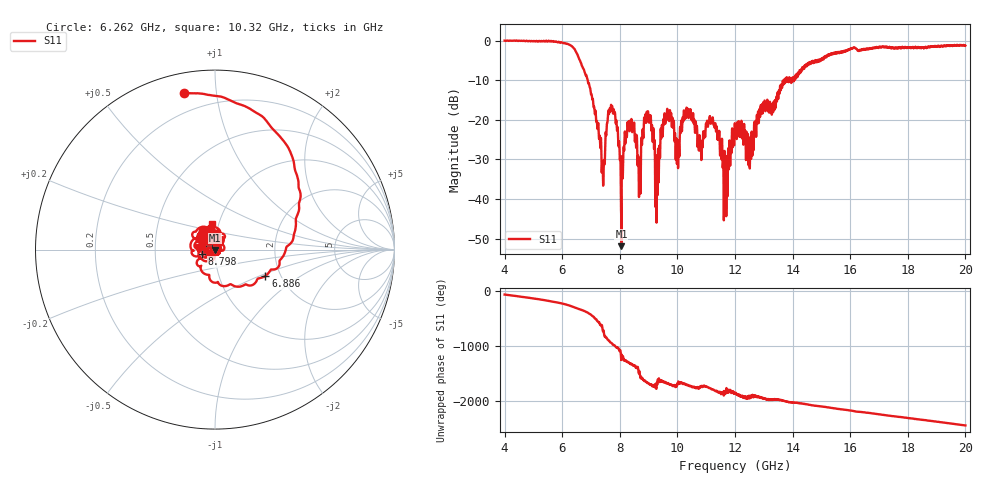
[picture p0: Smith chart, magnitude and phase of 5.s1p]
[Version] 2.0
! Rohde & Schwarz Vector Network Analyzer
! Rohde-Schwarz,ZNL20-2Port,1323001220200009,1.71.1.10-23.02.1.238
! Port Assignments:
! Nominal Port -> Actual Test Port
!  1 -> 1
! Created: GMT+2 2025-01-17 12:45:30
# Hz S RI R 50
[Number of Ports] 1
! freq[Hz]  S11[Re]  S11[Im]
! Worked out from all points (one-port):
!   16001 points, 4 GHz to 20 GHz, reference 50 ohm
!   lowest |S11| = -51.9 dB at 8.055 GHz (marker M1), VSWR 1.01, Z = 49.8 - j0.136 ohm
!   |S11| at or under -10 dB: 6.886 GHz to 13.7 GHz (6.811 GHz wide, 66.2 % of centre); 13.71192 GHz to 13.73991 GHz (27.99 MHz wide, 0.204 % of centre); 13.94141 GHz to 13.96404 GHz (22.63 MHz wide, 0.162 % of centre)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
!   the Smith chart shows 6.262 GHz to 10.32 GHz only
!   S11 on the Smith chart (normalised r, x): 6.262 GHz: 0.10, +0.82; 6.886 GHz: 1.67, -0.54; 8.798 GHz: 0.87, -0.04; 10.32 GHz: 0.93, +0.27
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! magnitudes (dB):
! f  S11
! 4 GHz  0.0
! 6 GHz  -0.5
! 6.262 GHz  -1.0
! 6.886 GHz  -10.0
! 7.401 GHz  -30.8
! 7.717 GHz  -16.7
! 7.862 GHz  -20.9
! 8 GHz  -30.0
! 8.055 GHz  -51.9
! 8.335 GHz  -22.8
! 8.663 GHz  -38.0
! 8.798 GHz  -22.6
! 9.007 GHz  -20.6
! 9.296 GHz  -29.2
! 9.488 GHz  -24.2
! 9.712 GHz  -20.3
! 10 GHz  -25.2
! 10.32 GHz  -16.9
! 10.8 GHz  -25.3
! 11.25 GHz  -21.2
! 11.67 GHz  -29.6
! 12 GHz  -21.4
! 12.54 GHz  -24.4
! 12.96 GHz  -18.3
! 14 GHz  -10.2
! 16 GHz  -2.0
! 18 GHz  -1.6
! 20 GHz  -1.2
